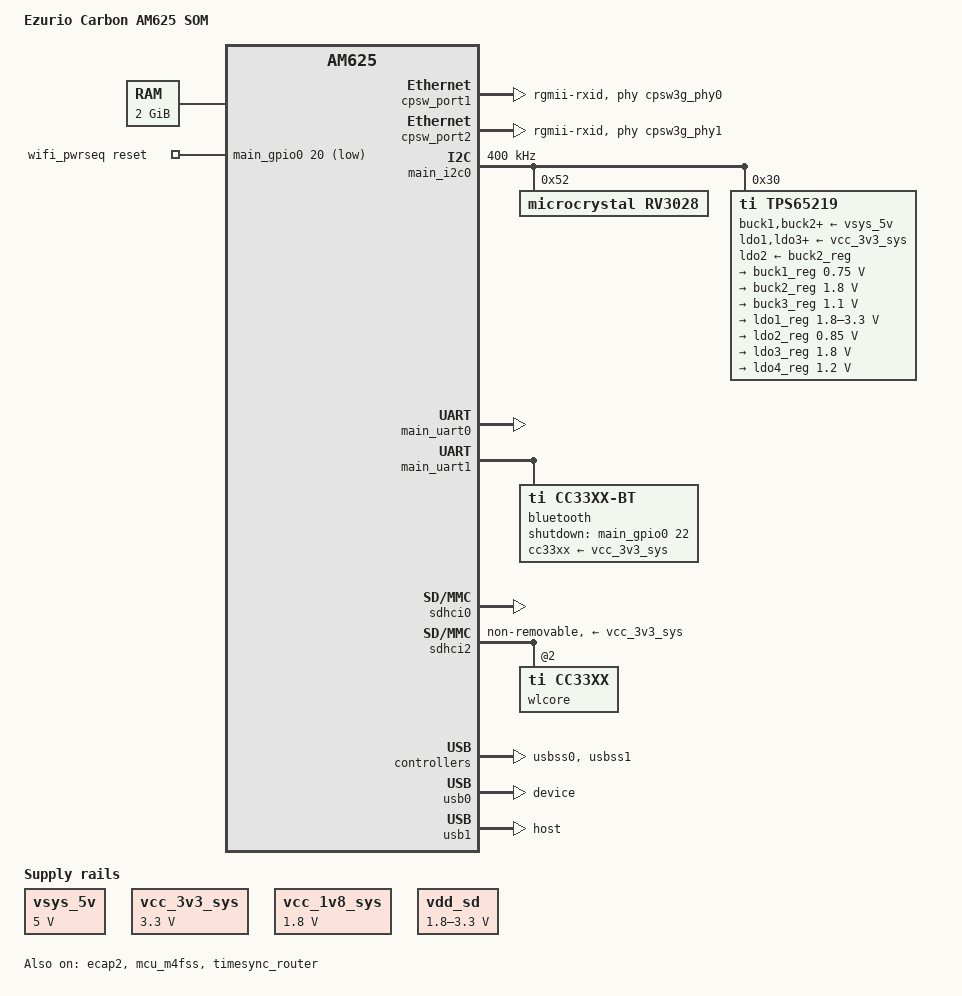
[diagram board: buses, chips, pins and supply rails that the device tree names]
// SPDX-License-Identifier: GPL-2.0
/*
 * AM625 Carbon SOM
 *
 * Copyright (C) 2024 Ezurio LLC
 */

/dts-v1/;

#include <dt-bindings/leds/common.h>
#include <dt-bindings/gpio/gpio.h>
#include <dt-bindings/net/ti-dp83867.h>
#include "k3-am625.dtsi"

/ {
	compatible = "ti,am625";
	model = "Ezurio Carbon AM625 SOM";

	aliases {
		serial2 = &main_uart0; /* CONSOLE */
		serial3 = &main_uart1; /* BT */
		serial4 = &main_uart6; /* UART_A */
		serial5 = &mcu_uart0;  /* UART_B */
		serial6 = &main_uart4; /* UART_D */
		mmc0 = &sdhci0;
		mmc1 = &sdhci1;
		mmc2 = &sdhci2;
		spi0 = &ospi0;
		spi1 = &main_spi0;
		ethernet0 = &cpsw_port1;
		ethernet1 = &cpsw_port2;
		usb0 = &usb0;
		usb1 = &usb1;
	};

	chosen {
		stdout-path = "serial2:115200n8";
	};

	opp-table {
		/* Add 1.4GHz OPP for am625-carbon board. Requires VDD_CORE to be at 0.85V */
		opp-1400000000 {
			opp-hz = /bits/ 64 <1400000000>;
			opp-supported-hw = <0x01 0x0004>;
			clock-latency-ns = <6000000>;
		};
	};

	memory@80000000 {
		bootph-pre-ram;
		device_type = "memory";
		/* 2G RAM */
		reg = <0x00000000 0x80000000 0x00000000 0x80000000>;
	};

	reserved-memory {
		#address-cells = <2>;
		#size-cells = <2>;
		ranges;

		ramoops@9c700000 {
			compatible = "ramoops";
			reg = <0x00 0x9c700000 0x00 0x00100000>;
			record-size = <0x8000>;
			console-size = <0x8000>;
			ftrace-size = <0x00>;
			pmsg-size = <0x8000>;
		};

		rtos_ipc_memory_region: ipc-memories@9c800000 {
			compatible = "shared-dma-pool";
			reg = <0x00 0x9c800000 0x00 0x00300000>;
			no-map;
		};

		mcu_m4fss_dma_memory_region: m4f-dma-memory@9cb00000 {
			compatible = "shared-dma-pool";
			reg = <0x00 0x9cb00000 0x00 0x100000>;
			no-map;
		};

		mcu_m4fss_memory_region: m4f-memory@9cc00000 {
			compatible = "shared-dma-pool";
			reg = <0x00 0x9cc00000 0x00 0xe00000>;
			no-map;
		};

		/* global cma region */
		linux,cma {
			compatible = "shared-dma-pool";
			reusable;
			size = <0x00 0x8000000>; /* 0x8000000 = 128MiB */
			linux,cma-default;
		};

		secure_tfa_ddr: tfa@9e780000 {
			reg = <0x00 0x9e780000 0x00 0x80000>;
			alignment = <0x1000>;
			no-map;
		};

		secure_ddr: optee@9e800000 {
			reg = <0x00 0x9e800000 0x00 0x01800000>; /* for OP-TEE */
			alignment = <0x1000>;
			no-map;
		};

		wkup_r5fss0_core0_dma_memory_region: r5f-dma-memory@9db00000 {
			compatible = "shared-dma-pool";
			reg = <0x00 0x9db00000 0x00 0xc00000>;
			no-map;
		};
	};

	cam_mck: cam-mck {
		compatible = "pwm-clock";
		status = "disabled";
		#clock-cells = <0>;
		clock-frequency = <24000000>;
		clock-output-names = "cam_mck";
                pwms = <&ecap2 0 42 0>; /* 1 / 42 ns = 24 MHz */
	};

	vsys_5v: regulator-vcc-in-5v {
		/* VCC_IN_5V */
		bootph-all;
		compatible = "regulator-fixed";
		regulator-name = "vsys_5v";
		regulator-min-microvolt = <5000000>;
		regulator-max-microvolt = <5000000>;
		regulator-always-on;
		regulator-boot-on;
	};

	vcc_3v3_sys: regulator-u4 {
		/* output of U4 */
		bootph-all;
		compatible = "regulator-fixed";
		regulator-name = "vcc_3v3_sys";
		regulator-min-microvolt = <3300000>;
		regulator-max-microvolt = <3300000>;
		regulator-always-on;
		regulator-boot-on;
	};

	vcc_1v8_sys: regulator-u3-b2 {
		/* output of U3 Buck 2 */
		bootph-all;
		compatible = "regulator-fixed";
		regulator-name = "vcc_1v8_sys";
		regulator-min-microvolt = <1800000>;
		regulator-max-microvolt = <1800000>;
		regulator-always-on;
		regulator-boot-on;
	};

	wifi_pwrseq: wifi-pwrseq {
		compatible = "mmc-pwrseq-simple";
		pinctrl-names = "default";
		pinctrl-0 = <&main_wifi_en_default>;
		clocks = <&rv3028>;
		clock-names = "ext_clock";
		reset-gpios = <&main_gpio0 20 GPIO_ACTIVE_LOW>; /* W_DISABLE# */
		post-power-on-delay-ms = <100>;
		status = "okay";
	};

	vdd_sd: regulator-u3-ldo1 {
		/* Output of U3 TPS6521920WRHBRQ1 VLDO1 */
		bootph-all;
		compatible = "regulator-gpio";
		regulator-name = "vdd_sd_u3_vldo1";
		pinctrl-names = "default";
		pinctrl-0 = <&vdd_sd_pins_default>;
		regulator-min-microvolt = <1800000>;
		regulator-max-microvolt = <3300000>;
		regulator-boot-on;
		gpios = <&main_gpio0 31 GPIO_ACTIVE_HIGH>;
		states = <1800000 0x0>,
			 <3300000 0x1>;
	};
};

&cpsw3g {
	bootph-all;
	pinctrl-names = "default";
	pinctrl-0 = <&main_rgmii1_pins_default
		     &main_rgmii2_pins_default>;

	cpts@3d000 {
		/* MAP HW3_TS_PUSH to GENF1 */
		ti,pps = <2 1>;
	};
};

&cpsw3g_mdio {
	bootph-all;
	status = "disabled";
	pinctrl-names = "default";
	pinctrl-0 = <&main_mdio1_pins_default>;
};

&cpsw_port1 {
	bootph-all;
	phy-mode = "rgmii-rxid";
	phy-handle = <&cpsw3g_phy0>;
};

&cpsw_port2 {
	bootph-all;
	phy-mode = "rgmii-rxid";
	phy-handle = <&cpsw3g_phy1>;
};

&epwm1 {
	pinctrl-names = "default";
	pinctrl-0 = <&main_epwm1_pins_default>;
	status = "disabled";
};

&ecap2 {
	/* ECAP in APWM mode */
	pinctrl-names = "default";
	pinctrl-0 = <&main_ecap2_pins_default>;
	status = "okay";
};

&fss {
	bootph-all;
};

&mailbox0_cluster0 {
	mbox_m4_0: mbox-m4-0 {
		ti,mbox-rx = <0 0 0>;
		ti,mbox-tx = <1 0 0>;
	};
};

&main_gpio0 {
	bootph-all;
	gpio-line-names = "","GPIO_A_2","GPIO_A_1","","", 	/* 0 - 4 */
		"","","","","",
		"","","","","",					/* 10 - 14 */
		"","","GPIO_B_7","SDIO_A_PWR_EN","GPIO_C_2",
		"W_DISABLE#","","W_DISABLE2#","","",		/* 20 - 24 */
		"GPIO_C_3","GPIO_C_6","","","GPIO_C_7",
		"GPIO_B_6","SDIO_A_IOPWR","","RGB_RESET#","",	/* 30 - 34 */
		"","GPIO_B_3","GPIO_A_0","GPIO_B_2","GPIO_C_0",
		"","GPIO_C_1","","","",				/* 40 - 44 */
		"","","","","",
		"","","","","",					/* 50 - 54 */
		"","","","","",
		"","","","","",					/* 60 - 64 */
		"","","","","",
		"","","","","",					/* 60 - 74 */
		"","","","","",
		"","","","","",					/* 80 - 84 */
		"","","","","",
		"","";						/* 90 - 91 */
};

&main_gpio1 {
	bootph-all;
	gpio-line-names = "","","","","",			/* 0 - 4 */
		"","","","","",
		"","","GPIO_A_3","","",				/* 10 - 14 */
		"","","","","",
		"","","","","",					/* 20 - 24 */
		"","","","","",
		"","","","","",					/* 30 - 34 */
		"","","","","",
		"","","","","",					/* 40 - 44 */
		"","","","SDIO_A_CD#","",
		"","";						/* 50 - 51 */
};

&main_gpio_intr {
	status = "okay";
};

&main_i2c0 {
	status = "okay";
	pinctrl-names = "default";
	pinctrl-0 = <&main_i2c0_pins_default>;
	clock-frequency = <400000>;

	rv3028: rtc@52 {
		backup-switchover-dsm;
		#clock-cells = <0>;
		pinctrl-names = "default";
		pinctrl-0 = <&mcu_rtc_pins_default>;
		compatible = "microcrystal,rv3028";
		reg = <0x52>;
		// interrupts-extended = <&mcu_gpio0 23 GPIO_ACTIVE_LOW>;
		// wakeup-source;
	};

	tps65219: pmic@30 {
		compatible = "ti,tps65219";
		reg = <0x30>;
		buck1-supply = <&vsys_5v>;
		buck2-supply = <&vsys_5v>;
		buck3-supply = <&vsys_5v>;
		ldo1-supply = <&vcc_3v3_sys>;
		ldo2-supply = <&buck2_reg>;
		ldo3-supply = <&vcc_3v3_sys>;
		ldo4-supply = <&vcc_3v3_sys>;

		pinctrl-names = "default";
		pinctrl-0 = <&pmic_irq_pins_default>;

		interrupt-parent = <&gic500>;
		interrupts = <GIC_SPI 224 IRQ_TYPE_LEVEL_HIGH>;

		system-power-controller;
		ti,power-button;

		regulators {
			buck1_reg: buck1 {
				regulator-name = "VDD_CORE";
				regulator-min-microvolt = <750000>;
				regulator-max-microvolt = <750000>;
				regulator-boot-on;
				regulator-always-on;
			};

			buck2_reg: buck2 {
				regulator-name = "VDD1V8";
				regulator-min-microvolt = <1800000>;
				regulator-max-microvolt = <1800000>;
				regulator-boot-on;
				regulator-always-on;
			};

			buck3_reg: buck3 {
				regulator-name = "VDD_1V1";
				regulator-min-microvolt = <1100000>;
				regulator-max-microvolt = <1100000>;
				regulator-boot-on;
				regulator-always-on;
			};

			ldo1_reg: ldo1 {
				/*
				 * Regulator is left as is unused, vdd_sd
				 * is controlled via GPIO with bypass config
				 * as per the NVM configuration
				 */
				regulator-name = "VDD_SD";
				regulator-min-microvolt = <1800000>;
				regulator-max-microvolt = <3300000>;
				regulator-allow-bypass;
				regulator-boot-on;
				regulator-always-on;
			};

			ldo2_reg: ldo2 {
				regulator-name = "VDDA_0V85";
				regulator-min-microvolt = <850000>;
				regulator-max-microvolt = <850000>;
				regulator-boot-on;
				regulator-always-on;
			};

			ldo3_reg: regulator-u3-ldo3 {
				regulator-name = "VDDA_1V8";
				regulator-min-microvolt = <1800000>;
				regulator-max-microvolt = <1800000>;
				regulator-boot-on;
				regulator-always-on;
			};

			ldo4_reg: ldo4 {
				regulator-name = "VDD_1V2";
				regulator-min-microvolt = <1200000>;
				regulator-max-microvolt = <1200000>;
				regulator-boot-on;
				regulator-always-on;
			};
		};
	};
};

&main_i2c1 { /* I2C_A */
	status = "disabled";
	pinctrl-names = "default";
	pinctrl-0 = <&main_i2c1_pins_default>;
	clock-frequency = <100000>;
	bootph-all;
};

&main_i2c2 { /* I2C_B */
	status = "disabled";
	pinctrl-names = "default";
	pinctrl-0 = <&main_i2c2_pins_default>;
	clock-frequency = <400000>;
};

&main_i2c3 { /* I2C_CAM */
	status = "disabled";
	pinctrl-names = "default";
	pinctrl-0 = <&main_i2c3_pins_default>;
	clock-frequency = <400000>;
};

&main_mcan0 { /* CAN_A */
	status = "disabled";
	pinctrl-names = "default";
	pinctrl-0 = <&main_mcan0_pins_default>;
};

&main_pmx0 {
	mypruicssm0ecap1_pins_default: mypruicssm0ecap1-default-pins {
		pinctrl-single,pins = <
			AM62X_IOPAD(0x00a4, PIN_INPUT, 1) /* PWM_0 (M22) GPMC0_DIR.PR0_ECAP0_IN_APWM_OUT */
		>;
	};

	main_bt_gpio_pins_default: main-bt-gpio-default-pins {
		pinctrl-single,pins = <
			AM62X_IOPAD(0x0084, PIN_INPUT, 7) /* BT_HOST_WAKE (L23) GPMC0_ADVn_ALE.GPIO0_32 */
			AM62X_IOPAD(0x0058, PIN_OUTPUT, 7) /* W_DISABLE2# (R23) GPMC0_AD7.GPIO0_22 */
		>;
	};

	main_ecap2_pins_default: main-ecap2-default-pins {
		pinctrl-single,pins = <
			AM62X_IOPAD(0x01a4, PIN_OUTPUT, 2) /* CAM_MCK (B20) MCASP0_ACLKX.ECAP2_IN_APWM_OUT */
		>;
	};

	main_epwm1_pins_default: main-epwm1-default-pins {
		pinctrl-single,pins = <
			AM62X_IOPAD(0x019c, PIN_OUTPUT, 6) /* PWM_1 (B18) MCASP0_AXR1.EHRPWM1_A */
			AM62X_IOPAD(0x01a0, PIN_OUTPUT, 6) /* PWM_2 (E18) MCASP0_AXR0.EHRPWM1_B */
		>;
	};

	main_i2c0_pins_default: main-i2c0-default-pins {
		bootph-all;
		pinctrl-single,pins = <
			AM62X_IOPAD(0x1e0, PIN_INPUT_PULLUP, 0) /* (B16) I2C0_SCL */
			AM62X_IOPAD(0x1e4, PIN_INPUT_PULLUP, 0) /* (A16) I2C0_SDA */
		>;
	};

	main_i2c1_pins_default: main-i2c1-default-pins {
		bootph-all;
		pinctrl-single,pins = <
			AM62X_IOPAD(0x1e8, PIN_INPUT_PULLUP, 0) /* (B17) I2C1_SCL */
			AM62X_IOPAD(0x1ec, PIN_INPUT_PULLUP, 0) /* (A17) I2C1_SDA */
		>;
	};

	main_i2c2_pins_default: main-i2c2-default-pins {
		pinctrl-single,pins = <
			AM62X_IOPAD(0x0b0, PIN_INPUT_PULLUP, 1) /* (K22) GPMC0_CSn2.I2C2_SCL */
			AM62X_IOPAD(0x0b4, PIN_INPUT_PULLUP, 1) /* (K24) GPMC0_CSn3.I2C2_SDA */
		>;
	};

	main_i2c3_pins_default: main-i2c3-default-pins {
		pinctrl-single,pins = <
			AM62X_IOPAD(0x01d0, PIN_INPUT_PULLUP, 2) /* (A15) UART0_CTSn.I2C3_SCL */
			AM62X_IOPAD(0x01d4, PIN_INPUT_PULLUP, 2) /* (B15) UART0_RTSn.I2C3_SDA */
		>;
	};

	main_mmc0_pins_default: main-mmc0-default-pins {
		bootph-all;
		pinctrl-single,pins = <
			AM62X_IOPAD(0x220, PIN_INPUT, 0) /* (Y3) MMC0_CMD */
			AM62X_IOPAD(0x218, PIN_INPUT, 0) /* (AB1) MMC0_CLK */
			AM62X_IOPAD(0x214, PIN_INPUT, 0) /* (AA2) MMC0_DAT0 */
			AM62X_IOPAD(0x210, PIN_INPUT, 0) /* (AA1) MMC0_DAT1 */
			AM62X_IOPAD(0x20c, PIN_INPUT, 0) /* (AA3) MMC0_DAT2 */
			AM62X_IOPAD(0x208, PIN_INPUT, 0) /* (Y4) MMC0_DAT3 */
			AM62X_IOPAD(0x204, PIN_INPUT, 0) /* (AB2) MMC0_DAT4 */
			AM62X_IOPAD(0x200, PIN_INPUT, 0) /* (AC1) MMC0_DAT5 */
			AM62X_IOPAD(0x1fc, PIN_INPUT, 0) /* (AD2) MMC0_DAT6 */
			AM62X_IOPAD(0x1f8, PIN_INPUT, 0) /* (AC2) MMC0_DAT7 */
		>;
	};

	main_mmc1_pins_default: main-mmc1-default-pins {
		bootph-all;
		pinctrl-single,pins = <
			AM62X_IOPAD(0x23c, PIN_INPUT, 0) /* SDIO_A_CMD (A21) MMC1_CMD */
			AM62X_IOPAD(0x234, PIN_INPUT, 0) /* SDIO_A_CLK (B22) MMC1_CLK */
			AM62X_IOPAD(0x230, PIN_INPUT, 0) /* SDIO_A_D0 (A22) MMC1_DAT0 */
			AM62X_IOPAD(0x22c, PIN_INPUT, 0) /* SDIO_A_D1 (B21) MMC1_DAT1 */
			AM62X_IOPAD(0x228, PIN_INPUT, 0) /* SDIO_A_D2 (C21) MMC1_DAT2 */
			AM62X_IOPAD(0x224, PIN_INPUT, 0) /* SDIO_A_D3 (D22) MMC1_DAT3 */
			AM62X_IOPAD(0x240, PIN_INPUT, 0) /* SDIO_A_CD# (D17) MMC1_SDCD */
			AM62X_IOPAD(0x244, PIN_INPUT, 0) /* SDIO_A_WP (C17) MMC1_SDWP */
		>;
	};

	main_mmc2_pins_default: main-mmc2-default-pins {
		pinctrl-single,pins = <
			AM62X_IOPAD(0x0120, PIN_INPUT, 0) /* (C24) MMC2_CMD */
			AM62X_IOPAD(0x0118, PIN_OUTPUT, 0) /* (D25) MMC2_CLK */
			AM62X_IOPAD(0x0114, PIN_INPUT, 0) /* (B24) MMC2_DAT0 */
			AM62X_IOPAD(0x0110, PIN_INPUT, 0) /* (C25) MMC2_DAT1 */
			AM62X_IOPAD(0x010c, PIN_INPUT, 0) /* (E23) MMC2_DAT2 */
			AM62X_IOPAD(0x0108, PIN_INPUT, 0) /* (D24) MMC2_DAT3 */
			AM62X_IOPAD(0x11c, PIN_INPUT, 0) /* (#N/A) MMC2_CLKB */
		>;
	};

	main_mdio1_pins_default: main-mdio1-default-pins {
		pinctrl-single,pins = <
			AM62X_IOPAD(0x160, PIN_OUTPUT, 0) /* (AD24) MDIO0_MDC */
			AM62X_IOPAD(0x15c, PIN_INPUT, 0) /* (AB22) MDIO0_MDIO */
		>;
	};

	main_rgmii1_pins_default: main-rgmii1-default-pins {
		bootph-all;
		pinctrl-single,pins = <
			AM62X_IOPAD(0x14c, PIN_INPUT, 0) /* (AB17) RGMII1_RD0 */
			AM62X_IOPAD(0x150, PIN_INPUT, 0) /* (AC17) RGMII1_RD1 */
			AM62X_IOPAD(0x154, PIN_INPUT, 0) /* (AB16) RGMII1_RD2 */
			AM62X_IOPAD(0x158, PIN_INPUT, 0) /* (AA15) RGMII1_RD3 */
			AM62X_IOPAD(0x148, PIN_INPUT, 0) /* (AD17) RGMII1_RXC */
			AM62X_IOPAD(0x144, PIN_INPUT, 0) /* (AE17) RGMII1_RX_CTL */
			AM62X_IOPAD(0x134, PIN_OUTPUT, 0) /* (AE20) RGMII1_TD0 */
			AM62X_IOPAD(0x138, PIN_OUTPUT, 0) /* (AD20) RGMII1_TD1 */
			AM62X_IOPAD(0x13c, PIN_OUTPUT, 0) /* (AE18) RGMII1_TD2 */
			AM62X_IOPAD(0x140, PIN_OUTPUT, 0) /* (AD18) RGMII1_TD3 */
			AM62X_IOPAD(0x130, PIN_OUTPUT, 0) /* (AE19) RGMII1_TXC */
			AM62X_IOPAD(0x12c, PIN_OUTPUT, 0) /* (AD19) RGMII1_TX_CTL */
		>;
	};

	main_rgmii2_pins_default: main-rgmii2-default-pins {
		bootph-all;
		pinctrl-single,pins = <
			AM62X_IOPAD(0x184, PIN_INPUT, 0) /* (AE23) RGMII2_RD0 */
			AM62X_IOPAD(0x188, PIN_INPUT, 0) /* (AB20) RGMII2_RD1 */
			AM62X_IOPAD(0x18c, PIN_INPUT, 0) /* (AC21) RGMII2_RD2 */
			AM62X_IOPAD(0x190, PIN_INPUT, 0) /* (AE22) RGMII2_RD3 */
			AM62X_IOPAD(0x180, PIN_INPUT, 0) /* (AD23) RGMII2_RXC */
			AM62X_IOPAD(0x17c, PIN_INPUT, 0) /* (AD22) RGMII2_RX_CTL */
			AM62X_IOPAD(0x16c, PIN_OUTPUT, 0) /* (Y18) RGMII2_TD0 */
			AM62X_IOPAD(0x170, PIN_OUTPUT, 0) /* (AA18) RGMII2_TD1 */
			AM62X_IOPAD(0x174, PIN_OUTPUT, 0) /* (AD21) RGMII2_TD2 */
			AM62X_IOPAD(0x178, PIN_OUTPUT, 0) /* (AC20) RGMII2_TD3 */
			AM62X_IOPAD(0x168, PIN_OUTPUT, 0) /* (AE21) RGMII2_TXC */
			AM62X_IOPAD(0x164, PIN_OUTPUT, 0) /* (AA19) RGMII2_TX_CTL */
		>;
	};

	main_usb0_pins_default: main-usb0-default-pins {
		pinctrl-single,pins = <
			AM62X_IOPAD(0x0254, PIN_OUTPUT, 0) /* (C20) USB0_DRVVBUS */
		>;
	};

	main_usb1_pins_default: main-usb1-default-pins {
		pinctrl-single,pins = <
			AM62X_IOPAD(0x0258, PIN_OUTPUT, 0) /* (F18) USB1_DRVVBUS */
		>;
	};

	main_mcasp1_pins_default: main-mcasp1-default-pins {
		pinctrl-single,pins = <
			AM62X_IOPAD(0x090, PIN_INPUT, 2) /* (M24) GPMC0_BE0N_CLE.MCASP1_ACLKX */
			AM62X_IOPAD(0x098, PIN_INPUT, 2) /* (U23) GPMC0_WAIT0.MCASP1_AFSX */
			AM62X_IOPAD(0x08c, PIN_OUTPUT, 2) /* (L25) GPMC0_WEN.MCASP1_AXR0 */
			AM62X_IOPAD(0x084, PIN_INPUT, 2) /* (L23) GPMC0_ADVN_ALE.MCASP1_AXR2 */
		>;
	};

	main_dss0_pins_default: main-dss0-default-pins {
		pinctrl-single,pins = <
			AM62X_IOPAD(0x100, PIN_OUTPUT, 0) /* (AC25) VOUT0_VSYNC */
			AM62X_IOPAD(0x0f8, PIN_OUTPUT, 0) /* (AB24) VOUT0_HSYNC */
			AM62X_IOPAD(0x104, PIN_OUTPUT, 0) /* (AC24) VOUT0_PCLK */
			AM62X_IOPAD(0x0fc, PIN_OUTPUT, 0) /* (Y20) VOUT0_DE */
			AM62X_IOPAD(0x0b8, PIN_OUTPUT, 0) /* (U22) VOUT0_DATA0 */
			AM62X_IOPAD(0x0bc, PIN_OUTPUT, 0) /* (V24) VOUT0_DATA1 */
			AM62X_IOPAD(0x0c0, PIN_OUTPUT, 0) /* (W25) VOUT0_DATA2 */
			AM62X_IOPAD(0x0c4, PIN_OUTPUT, 0) /* (W24) VOUT0_DATA3 */
			AM62X_IOPAD(0x0c8, PIN_OUTPUT, 0) /* (Y25) VOUT0_DATA4 */
			AM62X_IOPAD(0x0cc, PIN_OUTPUT, 0) /* (Y24) VOUT0_DATA5 */
			AM62X_IOPAD(0x0d0, PIN_OUTPUT, 0) /* (Y23) VOUT0_DATA6 */
			AM62X_IOPAD(0x0d4, PIN_OUTPUT, 0) /* (AA25) VOUT0_DATA7 */
			AM62X_IOPAD(0x0d8, PIN_OUTPUT, 0) /* (V21) VOUT0_DATA8 */
			AM62X_IOPAD(0x0dc, PIN_OUTPUT, 0) /* (W21) VOUT0_DATA9 */
			AM62X_IOPAD(0x0e0, PIN_OUTPUT, 0) /* (V20) VOUT0_DATA10 */
			AM62X_IOPAD(0x0e4, PIN_OUTPUT, 0) /* (AA23) VOUT0_DATA11 */
			AM62X_IOPAD(0x0e8, PIN_OUTPUT, 0) /* (AB25) VOUT0_DATA12 */
			AM62X_IOPAD(0x0ec, PIN_OUTPUT, 0) /* (AA24) VOUT0_DATA13 */
			AM62X_IOPAD(0x0f0, PIN_OUTPUT, 0) /* (Y22) VOUT0_DATA14 */
			AM62X_IOPAD(0x0f4, PIN_OUTPUT, 0) /* (AA21) VOUT0_DATA15 */
			AM62X_IOPAD(0x05c, PIN_OUTPUT, 1) /* (R24) GPMC0_AD8.VOUT0_DATA16 */
			AM62X_IOPAD(0x060, PIN_OUTPUT, 1) /* (R25) GPMC0_AD9.VOUT0_DATA17 */
		>;
	};

	main_mcan0_pins_default: main-mcan0-default-pins {
		pinctrl-single,pins = <
			AM62X_IOPAD(0x01d8, PIN_OUTPUT, 0) /* CAN_A_TX (C15) MCAN0_TX */
			AM62X_IOPAD(0x01dc, PIN_INPUT, 0) /* CAN_A_RX (E15) MCAN0_RX */
		>;
	};

	main_spi0_pins_default: main-spi0-default-pins {
		pinctrl-single,pins = <
			AM62X_IOPAD(0x01c0, PIN_INPUT, 0) /* SPI_B_SDI (B13) SPI0_D0 */
			AM62X_IOPAD(0x01c4, PIN_OUTPUT, 0) /* SPI_B_SDO (B14) SPI0_D1 */
			AM62X_IOPAD(0x01b4, PIN_INPUT, 0) /* SPI_B_CS0# (A13) SPI0_CS0 */
			AM62X_IOPAD(0x01b8, PIN_INPUT, 0) /* SPI_B_CS1# (C13) SPI0_CS1 */
			AM62X_IOPAD(0x01bc, PIN_INPUT, 0) /* SPI_B_SCK (A14) SPI0_CLK */
		>;
	};

	main_uart0_pins_default: main-uart0-default-pins {
		bootph-all;
		pinctrl-single,pins = <
			AM62X_IOPAD(0x1c8, PIN_INPUT, 0) /* (D14) UART0_RXD */
			AM62X_IOPAD(0x1cc, PIN_OUTPUT, 0) /* (E14) UART0_TXD */
		>;
	};

	main_uart1_pins_default: main-uart1-default-pins {
		bootph-pre-ram;
		pinctrl-single,pins = <
			AM62X_IOPAD(0x194, PIN_INPUT, 2) /* (B19) MCASP0_AXR3.UART1_CTSn */
			AM62X_IOPAD(0x198, PIN_OUTPUT, 2) /* (A19) MCASP0_AXR2.UART1_RTSn */
			AM62X_IOPAD(0x1ac, PIN_INPUT, 2) /* (E19) MCASP0_AFSR.UART1_RXD */
			AM62X_IOPAD(0x1b0, PIN_OUTPUT, 2) /* (A20) MCASP0_ACLKR.UART1_TXD */
		>;
	};

	main_uart4_pins_default: main-uart4-default-pins {
		pinctrl-single,pins = <
			AM62X_IOPAD(0x006c, PIN_INPUT, 2) /* (T22) GPMC0_AD12.UART4_RXD */
			AM62X_IOPAD(0x0070, PIN_OUTPUT, 2) /* (T24) GPMC0_AD13.UART4_TXD */
		>;
	};

	main_uart6_pins_default: main-uart6-default-pins {
		pinctrl-single,pins = <
			AM62X_IOPAD(0x0028, PIN_INPUT, 3) /* (J22) OSPI0_D7.UART6_CTSn */
			AM62X_IOPAD(0x0024, PIN_OUTPUT, 3) /* (H25) OSPI0_D6.UART6_RTSn */
			AM62X_IOPAD(0x001c, PIN_INPUT, 3) /* (J23) OSPI0_D4.UART6_RXD */
			AM62X_IOPAD(0x0020, PIN_OUTPUT, 3) /* (J25) OSPI0_D5.UART6_TXD */
		>;
	};

	main_wifi_en_default: main-wifi-en-default-pins {
		pinctrl-single,pins = <
			AM62X_IOPAD(0x0050, PIN_OUTPUT, 7) /* W_DISABLE# (P22) GPMC0_AD5.GPIO0_20 */
		>;
	};

	main_wifi_wake_default: main-wifi-wake-default-pins {
		pinctrl-single,pins = <
			AM62X_IOPAD(0x0040, PIN_INPUT, 7) /* SDIO_WAKE# (N23) GPMC0_AD1.GPIO0_16 */
		>;
	};

	pmic_irq_pins_default: pmic-irq-default-pins {
		pinctrl-single,pins = <
			AM62X_IOPAD(0x01f4, PIN_INPUT, 0) /* (D16) EXTINTn */
		>;
	};

	ospi0_pins_default: ospi0-default-pins {
		bootph-all;
		pinctrl-single,pins = <
			AM62X_IOPAD(0x000, PIN_OUTPUT, 0) /* (H24) OSPI0_CLK */
			AM62X_IOPAD(0x02c, PIN_OUTPUT, 0) /* (F23) OSPI0_CSn0 */
			AM62X_IOPAD(0x030, PIN_OUTPUT, 0) /* (G21) OSPI0_CSn1 */
			AM62X_IOPAD(0x00c, PIN_INPUT, 0) /* (E25) OSPI0_D0 */
			AM62X_IOPAD(0x010, PIN_INPUT, 0) /* (G24) OSPI0_D1 */
			AM62X_IOPAD(0x014, PIN_INPUT, 0) /* (F25) OSPI0_D2 */
			AM62X_IOPAD(0x018, PIN_INPUT, 0) /* (F24) OSPI0_D3 */
		>;
	};

	vdd_sd_pins_default: vdd-sd-default-pins {
		bootph-all;
		pinctrl-single,pins = <
			AM62X_IOPAD(0x07c, PIN_OUTPUT, 7) /* (P25) GPMC0_CLK.GPIO0_31 */
		>;
	};
};

&main_spi0 { /* SPI_B */
	status = "disabled";
        pinctrl-names = "default";
        pinctrl-0 = <&main_spi0_pins_default>;
};

&main_uart0 {
	/* Console ttyS2 */
	bootph-all;
	status = "okay";
	pinctrl-names = "default";
	pinctrl-0 = <&main_uart0_pins_default>;
	interrupts-extended = <&gic500 GIC_SPI 178 IRQ_TYPE_LEVEL_HIGH>,
			       <&main_pmx0 0x1c8>; /* (D14) UART0_RXD PADCONFIG114 */
	interrupt-names = "irq", "wakeup";
};

&main_uart1 {
	/* ttyS3 BT (Also used by TIFS firmware) */
	bootph-all;
	status = "okay";
	pinctrl-names = "default";
	pinctrl-0 = <&main_uart1_pins_default>, <&main_bt_gpio_pins_default>;
	uart-has-rtscts;
	// TODO interrupt <&main_gpio0 32 IRQ_TYPE_LEVEL_LOW>; /* BT_HOST_WAKE */

	bluetooth {
		compatible = "ti,cc33xx-bt";
		cc33xx-supply = <&vcc_3v3_sys>;
		shutdown-gpios = <&main_gpio0 22 GPIO_ACTIVE_HIGH>; /* W_DISABLE2# */
		max-speed = <115200>;
	};
};

&main_uart4 {
	/* ttyS6 UART_D */
	status = "disabled";
	pinctrl-names = "default";
	pinctrl-0 = <&main_uart4_pins_default>;
};

&main_uart6 {
	/* ttyS4 UART_A */
	status = "disabled";
	pinctrl-names = "default";
	pinctrl-0 = <&main_uart6_pins_default>;
};

&mcasp1 {
	status = "disabled";
	#sound-dai-cells = <0>;

	pinctrl-names = "default";
	pinctrl-0 = <&main_mcasp1_pins_default>;

	op-mode = <0>;          /* MCASP_IIS_MODE */
	tdm-slots = <2>;

	serial-dir = <  /* 0: INACTIVE, 1: TX, 2: RX */
	       1 0 2 0
	       0 0 0 0
	       0 0 0 0
	       0 0 0 0
	>;
	tx-num-evt = <0>;
	rx-num-evt = <0>;
};

/* mcu_gpio0 and mcu_gpio_intr are reserved for mcu firmware usage */
&mcu_gpio0 {
	status = "reserved";
	gpio-line-names = "","","","","",                       /* 0 - 4 */
		"","","","","",
		"","GPIO_B_1","GPIO_B_0","","",			/* 10 - 14 */
		"","","GPIO_A_4","GPIO_A_5","GPIO_B_4",
		"GPIO_B_5","","","rv3028_int";			/* 20 - 23 */
};

&mcu_gpio_intr {
	status = "reserved";
};

&mcu_m4fss {
	mboxes = <&mailbox0_cluster0 &mbox_m4_0>;
	memory-region = <&mcu_m4fss_dma_memory_region>,
			<&mcu_m4fss_memory_region>;
	status = "okay";
};

&mcu_mcan0 { /* CAN_B */
	status = "disabled";
	pinctrl-names = "default";
	pinctrl-0 = <&mcu_mcan0_pins_default>;
};

&mcu_pmx0 {

	wkup_uart0_pins_default: wkup-uart0-default-pins {
		bootph-pre-ram;
		pinctrl-single,pins = <
			AM62X_MCU_IOPAD(0x02c, PIN_INPUT, 0) /* (C6/A7) WKUP_UART0_CTSn */
			AM62X_MCU_IOPAD(0x030, PIN_OUTPUT, 0) /* (A4/B4) WKUP_UART0_RTSn */
			AM62X_MCU_IOPAD(0x024, PIN_INPUT, 0) /* (B4/B5) WKUP_UART0_RXD */
			AM62X_MCU_IOPAD(0x028, PIN_OUTPUT, 0) /* (C5/C6) WKUP_UART0_TXD */
		>;
	};

	mcu_mcan0_pins_default: mcu-mcan0-pins-default {
		pinctrl-single,pins = <
			AM62X_MCU_IOPAD(0x0034, PIN_OUTPUT, 0) /* CAN_B_TX (D6) MCU_MCAN0_TX */
			AM62X_MCU_IOPAD(0x0038, PIN_INPUT, 0) /* CAN_B_RX (B3) MCU_MCAN0_RX */
		>;
	};

	mcu_rtc_pins_default: mcu-rtc-default-pins {
		pinctrl-single,pins = <
			AM62X_MCU_IOPAD(0x0084, PIN_INPUT, 7) /* RTC_INT (A12) WKUP_CLKOUT0.MCU_GPIO0_23 */
		>;
	};

	pinctrl_mcu_uart0: muc-uart0-default-pins {
		pinctrl-single,pins = <
			AM62X_MCU_IOPAD(0x001c, PIN_INPUT, 0) /* (A6) MCU_UART0_CTSn */
			AM62X_MCU_IOPAD(0x0020, PIN_OUTPUT, 0) /* (B6) MCU_UART0_RTSn */
			AM62X_MCU_IOPAD(0x0014, PIN_INPUT, 0) /* (B5) MCU_UART0_RXD */
			AM62X_MCU_IOPAD(0x0018, PIN_OUTPUT, 0) /* (A5) MCU_UART0_TXD */
		>;
	};
};

&mcu_uart0 {
	/* ttyS5 UART_B */
	pinctrl-names = "default";
	pinctrl-0 = <&pinctrl_mcu_uart0>;
	status = "disabled";
};

&ospi0 { /* SPI_A Only 4 bits are routed out */
	bootph-all;
	status = "disabled";
	pinctrl-names = "default";
	pinctrl-0 = <&ospi0_pins_default>;
};

&sdhci0 { /* eMMC */
	bootph-all;
	status = "okay";
	pinctrl-names = "default";
	pinctrl-0 = <&main_mmc0_pins_default>;
	disable-wp;
};

&sdhci1 { /* SDIO_A */
	bootph-all;
	status = "disabled";
	pinctrl-names = "default";
	pinctrl-0 = <&main_mmc1_pins_default>;
};

&sdhci2 { /* SDIO_B  WIFI */
	status = "okay";
	pinctrl-names = "default";
	pinctrl-0 = <&main_mmc2_pins_default>, <&main_wifi_wake_default>;
	vmmc-supply = <&vcc_3v3_sys>;
	vqmmc-supply = <&vcc_1v8_sys>;
	mmc-pwrseq = <&wifi_pwrseq>; /* W_DISABLE# */
	non-removable;
	ti,fails-without-test-cd;
	cap-power-off-card;
	keep-power-in-suspend;
	#address-cells = <1>;
	#size-cells = <0>;

	wlcore: wlcore@2 {
		compatible = "ti,cc33xx";
		reg = <2>;
	};
};

#define K3_TS_OFFSET(pa, val)	(0x4+(pa)*4) (0x10000 | val)

&timesync_router {
	status = "okay";
	pinctrl-names = "default";
	pinctrl-0 = <&cpsw_cpts>;

	/* Use Time Sync Router to map GENF1 input to HW3_TS_PUSH output */
	cpsw_cpts: cpsw-cpts {
		pinctrl-single,pins = <
			/* pps [cpsw cpts genf1] in17 -> out12 [cpsw cpts hw3_push] */
			K3_TS_OFFSET(12, 17)
			>;
	};
};

&usbss0 {
	bootph-all;
	status = "okay";
	ti,vbus-divider;
};

&usbss1 {
	status = "okay";
	ti,vbus-divider;
};

&usb0 {
	bootph-all;
	#address-cells = <1>;
	#size-cells = <0>;
	dr_mode = "device";
	pinctrl-names = "default";
	pinctrl-0 = <&main_usb0_pins_default>;
};

&usb1 {
	dr_mode = "host";
	pinctrl-names = "default";
	pinctrl-0 = <&main_usb1_pins_default>;
};

&wkup_uart0 {
	/* WKUP UART0 (UART_C) is used by DM firmware */
	bootph-pre-ram;
	status = "reserved";
	pinctrl-names = "default";
	pinctrl-0 = <&wkup_uart0_pins_default>;
};
